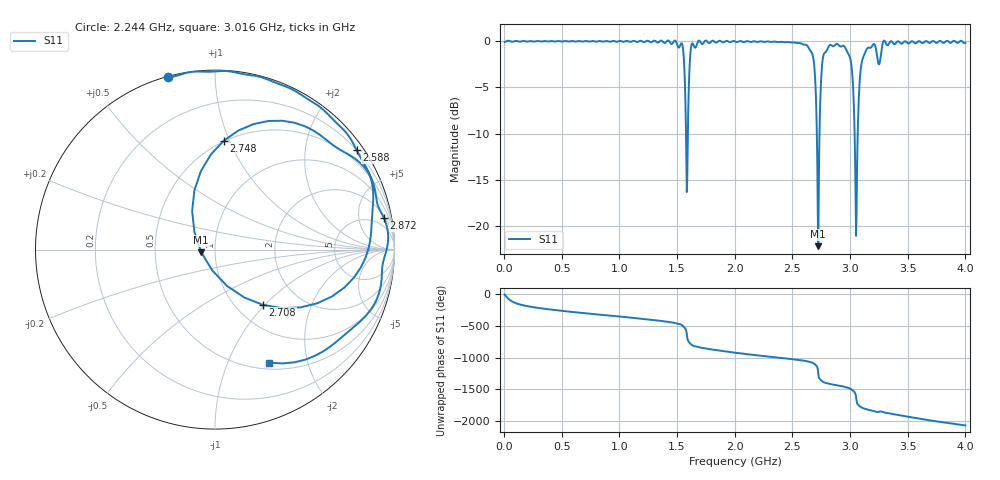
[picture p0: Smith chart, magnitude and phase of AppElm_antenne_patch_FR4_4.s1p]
! TOUCHSTONE file generated by CST MICROWAVE STUDIO
! Date and time: Tue Jun 14 11:27:49 2022
! Project name: AppElm_antenne_patch_FR4.cst
! Parameters = {L=45; W=52.65; e=0.035; h=1.6; lambda=0.190476; ls=120; w0=2.54; w1=0.847; ws=120; y0=18; y1=23.8}
! Header version: 2018
! Port assignment regex: !\s*Touchstone port\s*([0-9]+)\s*=\s*(CST MWS port|CST DS port)\s*([0-9]+|Zmin|Zmax)\s*\(\"(.*)\"\)(\s*mode\s*([0-9]+))?.*
! Touchstone port assignment:
! Touchstone port 1 = CST MWS port 1 ("")
# GHz S MA R 50
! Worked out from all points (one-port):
!   1000 points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, 4 MHz to 4 GHz, reference 50 ohm
!   lowest |S11| = -22.2 dB at 2.724 GHz (marker M1), VSWR 1.17, Z = 42.9 - j1.32 ohm
!   |S11| at or under -10 dB: 1.577 GHz to 1.593 GHz (16.28 MHz wide, 1.03 % of centre); 2.712 GHz to 2.735 GHz (22.99 MHz wide, 0.844 % of centre); 3.039 GHz to 3.066 GHz (27.01 MHz wide, 0.885 % of centre)
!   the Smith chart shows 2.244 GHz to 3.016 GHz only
!   S11 on the Smith chart (normalised r, x): 2.244 GHz: 0.00, +0.76; 2.588 GHz: 0.20, +3.15; 2.708 GHz: 1.32, -0.97; 2.748 GHz: 0.49, +0.95; 2.872 GHz: 2, +10; 3.016 GHz: 0.58, -1.43
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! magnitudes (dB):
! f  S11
! 4 MHz  -0.1
! 504 MHz  0.0
! 1.004 GHz  0.0
! 1.504 GHz  -0.5
! 1.548 GHz  -0.5
! 1.584 GHz  -16.3
! 1.636 GHz  -0.3
! 2.004 GHz  0.0
! 2.244 GHz  0.0
! 2.504 GHz  -0.1
! 2.588 GHz  -0.3
! 2.676 GHz  -1.5
! 2.692 GHz  -3.1
! 2.708 GHz  -7.8
! 2.724 GHz  -22.2
! 2.736 GHz  -9.1
! 2.748 GHz  -4.3
! 2.776 GHz  -1.3
! 2.872 GHz  -0.4
! 3.004 GHz  -2.0
! 3.016 GHz  -3.1
! 3.04 GHz  -10.4
! 3.052 GHz  -21.1
! 3.068 GHz  -9.0
! 3.092 GHz  -3.0
! 3.132 GHz  -1.2
! 3.504 GHz  -0.2
! 4 GHz  -0.2
